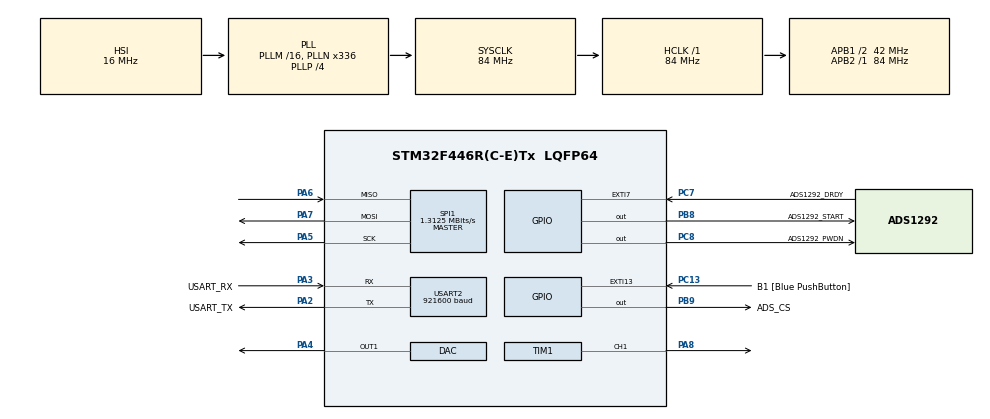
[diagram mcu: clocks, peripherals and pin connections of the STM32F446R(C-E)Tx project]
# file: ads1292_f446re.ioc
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Mcu.Family=STM32F4
Mcu.Name=STM32F446R(C-E)Tx
Mcu.Package=LQFP64
NVIC.EXTI15_10_IRQn=true\:1\:0\:false\:false\:true\:true\:true\:true
NVIC.EXTI9_5_IRQn=true\:0\:0\:false\:false\:true\:true\:true\:true
NVIC.PriorityGroup=NVIC_PRIORITYGROUP_0
PA13.GPIO_Label=TMS
PA13.Mode=Serial_Wire
PA13.Signal=SYS_JTMS-SWDIO
PA14.GPIO_Label=TCK
PA14.Mode=Serial_Wire
PA14.Signal=SYS_JTCK-SWCLK
PA2.GPIO_Label=USART_TX
PA2.Mode=Asynchronous
PA2.Signal=USART2_TX
PA3.GPIO_Label=USART_RX
PA3.Mode=Asynchronous
PA3.Signal=USART2_RX
PA4.Signal=COMP_DAC1_group
PA5.Mode=Full_Duplex_Master
PA5.Signal=SPI1_SCK
PA6.Mode=Full_Duplex_Master
PA6.Signal=SPI1_MISO
PA7.Mode=Full_Duplex_Master
PA7.Signal=SPI1_MOSI
PA8.Signal=S_TIM1_CH1
PB3.GPIO_Label=SWO
PB3.Signal=SYS_JTDO-SWO
PB8.GPIO_Label=ADS1292_START
PB8.Signal=GPIO_Output
PB9.GPIO_Label=ADS_CS
PB9.PinState=GPIO_PIN_SET
PB9.Signal=GPIO_Output
PC13.GPIO_Label=B1 [Blue PushButton]
PC13.GPIO_ModeDefaultEXTI=GPIO_MODE_IT_FALLING
PC13.Signal=GPXTI13
PC14-OSC32_IN.Mode=LSE-External-Oscillator
PC14-OSC32_IN.Signal=RCC_OSC32_IN
PC15-OSC32_OUT.Mode=LSE-External-Oscillator
PC15-OSC32_OUT.Signal=RCC_OSC32_OUT
PC7.GPIO_Label=ADS1292_DRDY
PC7.GPIO_ModeDefaultEXTI=GPIO_MODE_IT_FALLING
PC7.Signal=GPXTI7
PC8.GPIO_Label=ADS1292_PWDN
PC8.Signal=GPIO_Output
PH0-OSC_IN.Mode=HSE-External-Clock-Source
PH0-OSC_IN.Signal=RCC_OSC_IN
PH1-OSC_OUT.Mode=HSE-External-Clock-Source
PH1-OSC_OUT.Signal=RCC_OSC_OUT
ProjectManager.HeapSize=0x200
ProjectManager.StackSize=0x400
ProjectManager.TargetToolchain=MDK-ARM V5.32
RCC.48MHZClocksFreq_Value=84000000
RCC.AHBFreq_Value=84000000
RCC.APB1CLKDivider=RCC_HCLK_DIV2
RCC.APB1Freq_Value=42000000
RCC.APB1TimFreq_Value=84000000
RCC.APB2Freq_Value=84000000
RCC.APB2TimFreq_Value=84000000
RCC.CortexFreq_Value=84000000
RCC.FLatency-AdvancedSettings=FLASH_LATENCY_2
RCC.HCLKFreq_Value=84000000
RCC.HSE_VALUE=8000000
RCC.HSI_VALUE=16000000
RCC.PLLN=336
RCC.PLLP=RCC_PLLP_DIV4
RCC.SYSCLKFreq_VALUE=84000000
RCC.SYSCLKSource=RCC_SYSCLKSOURCE_PLLCLK
RCC.USBFreq_Value=168000000
RCC.VCOOutputFreq_Value=336000000
SH.COMP_DAC1_group.0=DAC_OUT1,DAC_OUT1
SH.S_TIM1_CH1.0=TIM1_CH1,PWM Generation1 CH1
SPI1.BaudRatePrescaler=SPI_BAUDRATEPRESCALER_64
SPI1.CLKPhase=SPI_PHASE_2EDGE
SPI1.CalculateBaudRate=1.3125 MBits/s
SPI1.Direction=SPI_DIRECTION_2LINES
SPI1.Mode=SPI_MODE_MASTER
SPI1.VirtualType=VM_MASTER
TIM1.Channel-PWM\ Generation1\ CH1=TIM_CHANNEL_1
TIM1.Period=9999
TIM1.Prescaler=8399
TIM1.Pulse-PWM\ Generation1\ CH1=5000
USART2.BaudRate=921600
USART2.VirtualMode=VM_ASYNC
board=NUCLEO-F446RE

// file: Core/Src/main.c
/* USER CODE BEGIN Header */
/**
  ******************************************************************************
  * @file           : main.c
  * @brief          : Main program body
  ******************************************************************************
  * @attention
  *
  * Copyright (c) 2026 STMicroelectronics.
  * All rights reserved.
  *
  * This software is licensed under terms that can be found in the LICENSE file
  * in the root directory of this software component.
  * If no LICENSE file comes with this software, it is provided AS-IS.
  *
  ******************************************************************************
  */
/* USER CODE END Header */
#include "main.h"
#include "dac.h"
#include "spi.h"
#include "tim.h"
#include "usart.h"
#include "gpio.h"

/* USER CODE BEGIN Includes */
#include "ads1292.h"
#include "sample_stream.h"
#include "sync_signal.h"
#ifdef NEUROMOTION_DUAL_ADC
#include "dual_adc.h"
#endif

/* USER CODE END Includes */

void SystemClock_Config(void);

int main(void)
{

  /* MCU Configuration--------------------------------------------------------*/

  /* Reset of all peripherals, Initializes the Flash interface and the Systick. */
  HAL_Init();

  /* Configure the system clock */
  SystemClock_Config();

  /* Initialize all configured peripherals */
  MX_GPIO_Init();
  MX_SPI1_Init();
  MX_USART2_UART_Init();
  MX_TIM1_Init();
  MX_DAC_Init();
  /* USER CODE BEGIN 2 */
  SyncSignal_InitIdle();
#ifdef NEUROMOTION_DUAL_ADC
  uint8_t ready = DualADC_Init();
  HAL_Delay(5000U);
  if (ready == 3U) { SyncSignal_Start(); DualADC_Start(); }
#else
  if (ADS1292_Init() != HAL_OK)
  {
    Error_Handler();
  }

  HAL_Delay(5000U);

  SyncSignal_Start();
  if (ADS1292_Start() != HAL_OK)
  {
    Error_Handler();
  }
#endif

  /* USER CODE END 2 */

  /* Infinite loop */
  while (1)
  {

    /* USER CODE BEGIN 3 */
    SyncSignal_Process();
#ifdef NEUROMOTION_DUAL_ADC
    DualADC_Process();
#else
    SampleStream_Process();
#endif
  }
  /* USER CODE END 3 */
}

void SystemClock_Config(void)
{
  RCC_OscInitTypeDef RCC_OscInitStruct = {0};
  RCC_ClkInitTypeDef RCC_ClkInitStruct = {0};

  /** Configure the main internal regulator output voltage
  */
  __HAL_RCC_PWR_CLK_ENABLE();
  __HAL_PWR_VOLTAGESCALING_CONFIG(PWR_REGULATOR_VOLTAGE_SCALE3);

  /** Initializes the RCC Oscillators according to the specified parameters
  * in the RCC_OscInitTypeDef structure.
  */
  RCC_OscInitStruct.OscillatorType = RCC_OSCILLATORTYPE_HSI;
  RCC_OscInitStruct.HSIState = RCC_HSI_ON;
  RCC_OscInitStruct.HSICalibrationValue = RCC_HSICALIBRATION_DEFAULT;
  RCC_OscInitStruct.PLL.PLLState = RCC_PLL_ON;
  RCC_OscInitStruct.PLL.PLLSource = RCC_PLLSOURCE_HSI;
  RCC_OscInitStruct.PLL.PLLM = 16;
  RCC_OscInitStruct.PLL.PLLN = 336;
  RCC_OscInitStruct.PLL.PLLP = RCC_PLLP_DIV4;
  RCC_OscInitStruct.PLL.PLLQ = 2;
  RCC_OscInitStruct.PLL.PLLR = 2;
  if (HAL_RCC_OscConfig(&RCC_OscInitStruct) != HAL_OK)
  {
    Error_Handler();
  }

  /** Initializes the CPU, AHB and APB buses clocks
  */
  RCC_ClkInitStruct.ClockType = RCC_CLOCKTYPE_HCLK|RCC_CLOCKTYPE_SYSCLK
                              |RCC_CLOCKTYPE_PCLK1|RCC_CLOCKTYPE_PCLK2;
  RCC_ClkInitStruct.SYSCLKSource = RCC_SYSCLKSOURCE_PLLCLK;
  RCC_ClkInitStruct.AHBCLKDivider = RCC_SYSCLK_DIV1;
  RCC_ClkInitStruct.APB1CLKDivider = RCC_HCLK_DIV2;
  RCC_ClkInitStruct.APB2CLKDivider = RCC_HCLK_DIV1;

  if (HAL_RCC_ClockConfig(&RCC_ClkInitStruct, FLASH_LATENCY_2) != HAL_OK)
  {
    Error_Handler();
  }
}

void Error_Handler(void)
{
  __disable_irq();
  while (1)
  {
  }
}
